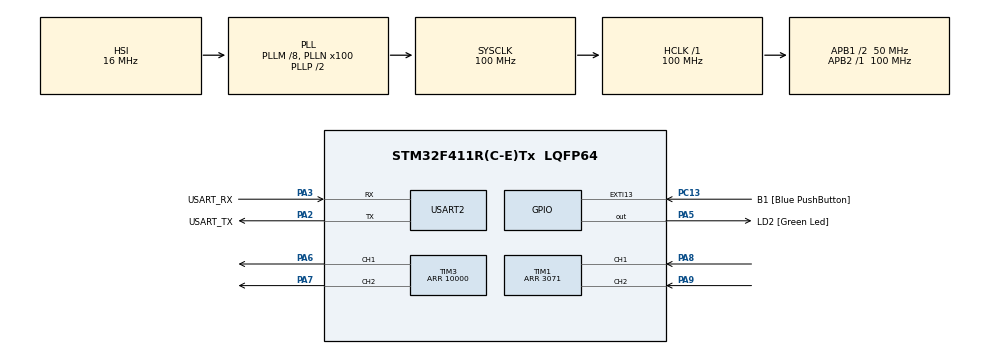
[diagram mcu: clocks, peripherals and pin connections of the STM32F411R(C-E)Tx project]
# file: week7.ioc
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Mcu.Family=STM32F4
Mcu.Name=STM32F411R(C-E)Tx
Mcu.Package=LQFP64
NVIC.PriorityGroup=NVIC_PRIORITYGROUP_0
NVIC.TIM2_IRQn=true\:0\:0\:false\:false\:true\:true\:true
PA13.GPIO_Label=TMS
PA13.Mode=Serial_Wire
PA13.Signal=SYS_JTMS-SWDIO
PA14.GPIO_Label=TCK
PA14.Mode=Serial_Wire
PA14.Signal=SYS_JTCK-SWCLK
PA2.GPIO_Label=USART_TX
PA2.Mode=Asynchronous
PA2.Signal=USART2_TX
PA3.GPIO_Label=USART_RX
PA3.Mode=Asynchronous
PA3.Signal=USART2_RX
PA5.GPIO_Label=LD2 [Green Led]
PA5.Signal=GPIO_Output
PA6.Signal=S_TIM3_CH1
PA7.Signal=S_TIM3_CH2
PA8.Signal=S_TIM1_CH1
PA9.Signal=S_TIM1_CH2
PB3.GPIO_Label=SWO
PB3.Signal=SYS_JTDO-SWO
PC13-ANTI_TAMP.GPIO_Label=B1 [Blue PushButton]
PC13-ANTI_TAMP.GPIO_ModeDefaultEXTI=GPIO_MODE_IT_FALLING
PC13-ANTI_TAMP.Signal=GPXTI13
PC14-OSC32_IN.Mode=LSE-External-Oscillator
PC14-OSC32_IN.Signal=RCC_OSC32_IN
PC15-OSC32_OUT.Mode=LSE-External-Oscillator
PC15-OSC32_OUT.Signal=RCC_OSC32_OUT
PH0\ -\ OSC_IN.Mode=HSE-External-Clock-Source
PH0\ -\ OSC_IN.Signal=RCC_OSC_IN
PH1\ -\ OSC_OUT.Mode=HSE-External-Clock-Source
PH1\ -\ OSC_OUT.Signal=RCC_OSC_OUT
ProjectManager.HeapSize=0x200
ProjectManager.StackSize=0x400
ProjectManager.TargetToolchain=STM32CubeIDE
RCC.48MHZClocksFreq_Value=50000000
RCC.AHBFreq_Value=100000000
RCC.APB1CLKDivider=RCC_HCLK_DIV2
RCC.APB1Freq_Value=50000000
RCC.APB1TimFreq_Value=100000000
RCC.APB2Freq_Value=100000000
RCC.APB2TimFreq_Value=100000000
RCC.CortexFreq_Value=100000000
RCC.FLatency-AdvancedSettings=FLASH_LATENCY_3
RCC.HCLKFreq_Value=100000000
RCC.HSE_VALUE=8000000
RCC.HSI_VALUE=16000000
RCC.PLLM=8
RCC.PLLN=100
RCC.SYSCLKFreq_VALUE=100000000
RCC.SYSCLKSource=RCC_SYSCLKSOURCE_PLLCLK
RCC.VCOOutputFreq_Value=200000000
SH.S_TIM1_CH1.0=TIM1_CH1,Encoder_Interface
SH.S_TIM1_CH2.0=TIM1_CH2,Encoder_Interface
SH.S_TIM3_CH1.0=TIM3_CH1,PWM Generation1 CH1
SH.S_TIM3_CH2.0=TIM3_CH2,PWM Generation2 CH2
TIM1.EncoderMode=TIM_ENCODERMODE_TI12
TIM1.Period=3071
TIM2.Prescaler=99
TIM3.Channel-PWM\ Generation1\ CH1=TIM_CHANNEL_1
TIM3.Channel-PWM\ Generation2\ CH2=TIM_CHANNEL_2
TIM3.Period=10000
USART2.VirtualMode=VM_ASYNC
VP_TIM2_VS_ClockSourceINT.Mode=Internal
VP_TIM3_VS_ClockSourceINT.Mode=Internal
board=NUCLEO-F411RE

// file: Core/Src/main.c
/* USER CODE BEGIN Header */
/**
 ******************************************************************************
 * @file           : main.c
 * @brief          : Main program body
 ******************************************************************************
 * @attention
 *
 * <h2><center>&copy; Copyright (c) 2021 STMicroelectronics.
 * All rights reserved.</center></h2>
 *
 * This software component is licensed by ST under BSD 3-Clause license,
 * the "License"; You may not use this file except in compliance with the
 * License. You may obtain a copy of the License at:
 *                        opensource.org/licenses/BSD-3-Clause
 *
 ******************************************************************************
 */
/* USER CODE END Header */
#include "main.h"

TIM_HandleTypeDef htim1;
TIM_HandleTypeDef htim2;
TIM_HandleTypeDef htim3;

UART_HandleTypeDef huart2;

/* USER CODE BEGIN PV */
uint64_t _micros = 0;
float EncoderVel = 0;
uint64_t Timestamp_Encoder = 0;

float RPM_input = 0;
float RPM_output = 0;
float RPM_set = 0;
float rpm = 0;
float K_P = 0;
float K_I = 0;
float K_D = 0;
float Now_error = 0;
float Sum_error = 0;
float Pre_error = 0;
float PWMOut = 0;
int direction = 0;
/* USER CODE END PV */

void SystemClock_Config(void);
static void MX_GPIO_Init(void);
static void MX_USART2_UART_Init(void);
static void MX_TIM1_Init(void);
static void MX_TIM2_Init(void);
static void MX_TIM3_Init(void);
/* USER CODE BEGIN PFP */
uint64_t micros();
float EncoderVelocity_Update();

/* USER CODE END PFP */

int main(void)
{

  /* MCU Configuration--------------------------------------------------------*/

  /* Reset of all peripherals, Initializes the Flash interface and the Systick. */
  HAL_Init();

  /* Configure the system clock */
  SystemClock_Config();

  /* Initialize all configured peripherals */
  MX_GPIO_Init();
  MX_USART2_UART_Init();
  MX_TIM1_Init();
  MX_TIM2_Init();
  MX_TIM3_Init();
  /* USER CODE BEGIN 2 */
	HAL_TIM_Base_Start_IT(&htim2);
	HAL_TIM_Encoder_Start(&htim1, TIM_CHANNEL_ALL);

	// start TIM
	HAL_TIM_Base_Start(&htim3);
	HAL_TIM_PWM_Start(&htim3, TIM_CHANNEL_1);
	HAL_TIM_PWM_Start(&htim3, TIM_CHANNEL_2);
  /* USER CODE END 2 */

  /* Infinite loop */
	while (1)
	{

    /* USER CODE BEGIN 3 */

		//RAW Read
//		if (micros() - Timestamp_Encoder >= 1000)
//		{
//			Timestamp_Encoder = micros();
//			EncoderVel = EncoderVelocity_Update();
//		}

		//Add LPF?
		if (micros() - Timestamp_Encoder >= 1000)
		{

			Timestamp_Encoder = micros();
			EncoderVel = (EncoderVel * 19 + EncoderVelocity_Update()) / 20.0;
			rpm = (EncoderVel*60.0)/3072.0;

			if(RPM_set == 0)
			{
				__HAL_TIM_SET_COMPARE(&htim3, TIM_CHANNEL_1, 1);
				__HAL_TIM_SET_COMPARE(&htim3, TIM_CHANNEL_2, 1);
			}

			else if(RPM_set > 0)
			{
				direction = 1;
				RPM_input = direction*RPM_set*3072.0/60.0;
				RPM_output =  direction*EncoderVel;
				//K_P = 2; K_I = 0.002; K_D = 8;
				Now_error = RPM_input - RPM_output;
				Sum_error += Now_error;
				PWMOut = (K_P*Now_error) + (K_I*Sum_error) + (K_D*(Now_error - Pre_error));
				Pre_error = Now_error;

				__HAL_TIM_SET_COMPARE(&htim3, TIM_CHANNEL_1, PWMOut);
				__HAL_TIM_SET_COMPARE(&htim3, TIM_CHANNEL_2, 0);

			}

			else if(RPM_set < 0)
			{
				direction = -1;
				RPM_input = direction*RPM_set*3072.0/60.0;
				RPM_output =  direction*EncoderVel;
				//K_P = 2; K_I = 0.002; K_D = 8;
				Now_error = RPM_input - RPM_output;
				Sum_error += Now_error;
				PWMOut = (K_P*Now_error) + (K_I*Sum_error) + (K_D*(Now_error - Pre_error));
				Pre_error = Now_error;

				__HAL_TIM_SET_COMPARE(&htim3, TIM_CHANNEL_1, 0);
				__HAL_TIM_SET_COMPARE(&htim3, TIM_CHANNEL_2, PWMOut);

			}

//			Timestamp_Encoder = micros();
//			EncoderVel = (EncoderVel * 19 + EncoderVelocity_Update()) / 20.0;
//			rpm = (EncoderVel*60.0)/3072.0;
		}

	}
  /* USER CODE END 3 */
}

void SystemClock_Config(void)
{
  RCC_OscInitTypeDef RCC_OscInitStruct = {0};
  RCC_ClkInitTypeDef RCC_ClkInitStruct = {0};

  /** Configure the main internal regulator output voltage
  */
  __HAL_RCC_PWR_CLK_ENABLE();
  __HAL_PWR_VOLTAGESCALING_CONFIG(PWR_REGULATOR_VOLTAGE_SCALE1);
  /** Initializes the RCC Oscillators according to the specified parameters
  * in the RCC_OscInitTypeDef structure.
  */
  RCC_OscInitStruct.OscillatorType = RCC_OSCILLATORTYPE_HSI;
  RCC_OscInitStruct.HSIState = RCC_HSI_ON;
  RCC_OscInitStruct.HSICalibrationValue = RCC_HSICALIBRATION_DEFAULT;
  RCC_OscInitStruct.PLL.PLLState = RCC_PLL_ON;
  RCC_OscInitStruct.PLL.PLLSource = RCC_PLLSOURCE_HSI;
  RCC_OscInitStruct.PLL.PLLM = 8;
  RCC_OscInitStruct.PLL.PLLN = 100;
  RCC_OscInitStruct.PLL.PLLP = RCC_PLLP_DIV2;
  RCC_OscInitStruct.PLL.PLLQ = 4;
  if (HAL_RCC_OscConfig(&RCC_OscInitStruct) != HAL_OK)
  {
    Error_Handler();
  }
  /** Initializes the CPU, AHB and APB buses clocks
  */
  RCC_ClkInitStruct.ClockType = RCC_CLOCKTYPE_HCLK|RCC_CLOCKTYPE_SYSCLK
                              |RCC_CLOCKTYPE_PCLK1|RCC_CLOCKTYPE_PCLK2;
  RCC_ClkInitStruct.SYSCLKSource = RCC_SYSCLKSOURCE_PLLCLK;
  RCC_ClkInitStruct.AHBCLKDivider = RCC_SYSCLK_DIV1;
  RCC_ClkInitStruct.APB1CLKDivider = RCC_HCLK_DIV2;
  RCC_ClkInitStruct.APB2CLKDivider = RCC_HCLK_DIV1;

  if (HAL_RCC_ClockConfig(&RCC_ClkInitStruct, FLASH_LATENCY_3) != HAL_OK)
  {
    Error_Handler();
  }
}

static void MX_TIM1_Init(void)
{

  TIM_Encoder_InitTypeDef sConfig = {0};
  TIM_MasterConfigTypeDef sMasterConfig = {0};

  htim1.Instance = TIM1;
  htim1.Init.Prescaler = 0;
  htim1.Init.CounterMode = TIM_COUNTERMODE_UP;
  htim1.Init.Period = 3071;
  htim1.Init.ClockDivision = TIM_CLOCKDIVISION_DIV1;
  htim1.Init.RepetitionCounter = 0;
  htim1.Init.AutoReloadPreload = TIM_AUTORELOAD_PRELOAD_DISABLE;
  sConfig.EncoderMode = TIM_ENCODERMODE_TI12;
  sConfig.IC1Polarity = TIM_ICPOLARITY_RISING;
  sConfig.IC1Selection = TIM_ICSELECTION_DIRECTTI;
  sConfig.IC1Prescaler = TIM_ICPSC_DIV1;
  sConfig.IC1Filter = 0;
  sConfig.IC2Polarity = TIM_ICPOLARITY_RISING;
  sConfig.IC2Selection = TIM_ICSELECTION_DIRECTTI;
  sConfig.IC2Prescaler = TIM_ICPSC_DIV1;
  sConfig.IC2Filter = 0;
  if (HAL_TIM_Encoder_Init(&htim1, &sConfig) != HAL_OK)
  {
    Error_Handler();
  }
  sMasterConfig.MasterOutputTrigger = TIM_TRGO_RESET;
  sMasterConfig.MasterSlaveMode = TIM_MASTERSLAVEMODE_DISABLE;
  if (HAL_TIMEx_MasterConfigSynchronization(&htim1, &sMasterConfig) != HAL_OK)
  {
    Error_Handler();
  }

}

static void MX_TIM2_Init(void)
{

  TIM_ClockConfigTypeDef sClockSourceConfig = {0};
  TIM_MasterConfigTypeDef sMasterConfig = {0};

  htim2.Instance = TIM2;
  htim2.Init.Prescaler = 99;
  htim2.Init.CounterMode = TIM_COUNTERMODE_UP;
  htim2.Init.Period = 4294967295;
  htim2.Init.ClockDivision = TIM_CLOCKDIVISION_DIV1;
  htim2.Init.AutoReloadPreload = TIM_AUTORELOAD_PRELOAD_DISABLE;
  if (HAL_TIM_Base_Init(&htim2) != HAL_OK)
  {
    Error_Handler();
  }
  sClockSourceConfig.ClockSource = TIM_CLOCKSOURCE_INTERNAL;
  if (HAL_TIM_ConfigClockSource(&htim2, &sClockSourceConfig) != HAL_OK)
  {
    Error_Handler();
  }
  sMasterConfig.MasterOutputTrigger = TIM_TRGO_RESET;
  sMasterConfig.MasterSlaveMode = TIM_MASTERSLAVEMODE_DISABLE;
  if (HAL_TIMEx_MasterConfigSynchronization(&htim2, &sMasterConfig) != HAL_OK)
  {
    Error_Handler();
  }

}

static void MX_TIM3_Init(void)
{

  TIM_ClockConfigTypeDef sClockSourceConfig = {0};
  TIM_MasterConfigTypeDef sMasterConfig = {0};
  TIM_OC_InitTypeDef sConfigOC = {0};

  htim3.Instance = TIM3;
  htim3.Init.Prescaler = 0;
  htim3.Init.CounterMode = TIM_COUNTERMODE_UP;
  htim3.Init.Period = 10000;
  htim3.Init.ClockDivision = TIM_CLOCKDIVISION_DIV1;
  htim3.Init.AutoReloadPreload = TIM_AUTORELOAD_PRELOAD_DISABLE;
  if (HAL_TIM_Base_Init(&htim3) != HAL_OK)
  {
    Error_Handler();
  }
  sClockSourceConfig.ClockSource = TIM_CLOCKSOURCE_INTERNAL;
  if (HAL_TIM_ConfigClockSource(&htim3, &sClockSourceConfig) != HAL_OK)
  {
    Error_Handler();
  }
  if (HAL_TIM_PWM_Init(&htim3) != HAL_OK)
  {
    Error_Handler();
  }
  sMasterConfig.MasterOutputTrigger = TIM_TRGO_RESET;
  sMasterConfig.MasterSlaveMode = TIM_MASTERSLAVEMODE_DISABLE;
  if (HAL_TIMEx_MasterConfigSynchronization(&htim3, &sMasterConfig) != HAL_OK)
  {
    Error_Handler();
  }
  sConfigOC.OCMode = TIM_OCMODE_PWM1;
  sConfigOC.Pulse = 0;
  sConfigOC.OCPolarity = TIM_OCPOLARITY_HIGH;
  sConfigOC.OCFastMode = TIM_OCFAST_DISABLE;
  if (HAL_TIM_PWM_ConfigChannel(&htim3, &sConfigOC, TIM_CHANNEL_1) != HAL_OK)
  {
    Error_Handler();
  }
  if (HAL_TIM_PWM_ConfigChannel(&htim3, &sConfigOC, TIM_CHANNEL_2) != HAL_OK)
  {
    Error_Handler();
  }
  HAL_TIM_MspPostInit(&htim3);

}

static void MX_USART2_UART_Init(void)
{

  huart2.Instance = USART2;
  huart2.Init.BaudRate = 115200;
  huart2.Init.WordLength = UART_WORDLENGTH_8B;
  huart2.Init.StopBits = UART_STOPBITS_1;
  huart2.Init.Parity = UART_PARITY_NONE;
  huart2.Init.Mode = UART_MODE_TX_RX;
  huart2.Init.HwFlowCtl = UART_HWCONTROL_NONE;
  huart2.Init.OverSampling = UART_OVERSAMPLING_16;
  if (HAL_UART_Init(&huart2) != HAL_OK)
  {
    Error_Handler();
  }

}

static void MX_GPIO_Init(void)
{
  GPIO_InitTypeDef GPIO_InitStruct = {0};

  /* GPIO Ports Clock Enable */
  __HAL_RCC_GPIOC_CLK_ENABLE();
  __HAL_RCC_GPIOH_CLK_ENABLE();
  __HAL_RCC_GPIOA_CLK_ENABLE();
  __HAL_RCC_GPIOB_CLK_ENABLE();

  /*Configure GPIO pin Output Level */
  HAL_GPIO_WritePin(LD2_GPIO_Port, LD2_Pin, GPIO_PIN_RESET);

  /*Configure GPIO pin : B1_Pin */
  GPIO_InitStruct.Pin = B1_Pin;
  GPIO_InitStruct.Mode = GPIO_MODE_IT_FALLING;
  GPIO_InitStruct.Pull = GPIO_NOPULL;
  HAL_GPIO_Init(B1_GPIO_Port, &GPIO_InitStruct);

  /*Configure GPIO pin : LD2_Pin */
  GPIO_InitStruct.Pin = LD2_Pin;
  GPIO_InitStruct.Mode = GPIO_MODE_OUTPUT_PP;
  GPIO_InitStruct.Pull = GPIO_NOPULL;
  GPIO_InitStruct.Speed = GPIO_SPEED_FREQ_LOW;
  HAL_GPIO_Init(LD2_GPIO_Port, &GPIO_InitStruct);

}

/* USER CODE BEGIN 4 */
#define  HTIM_ENCODER htim1
#define  MAX_SUBPOSITION_OVERFLOW 1536
#define  MAX_ENCODER_PERIOD 3072

float EncoderVelocity_Update() //Angular velocity
{
	//Save Last state
	static uint32_t EncoderLastPosition = 0;
	static uint64_t EncoderLastTimestamp = 0;

	//read data
	uint32_t EncoderNowPosition = HTIM_ENCODER.Instance->CNT;
	uint64_t EncoderNowTimestamp = micros();

	int32_t EncoderPositionDiff;
	uint64_t EncoderTimeDiff;

	EncoderTimeDiff = EncoderNowTimestamp - EncoderLastTimestamp;//dt
	EncoderPositionDiff = EncoderNowPosition - EncoderLastPosition;//dp

	//compensate overflow and underflow
	if (EncoderPositionDiff >= MAX_SUBPOSITION_OVERFLOW)
	{
		EncoderPositionDiff -= MAX_ENCODER_PERIOD;
	}
	else if (-EncoderPositionDiff >= MAX_SUBPOSITION_OVERFLOW)
	{
		EncoderPositionDiff += MAX_ENCODER_PERIOD;
	}

	//Update Position and time
	EncoderLastPosition = EncoderNowPosition;
	EncoderLastTimestamp = EncoderNowTimestamp;

	//Calculate velocity
	//EncoderTimeDiff is in uS
	return (EncoderPositionDiff * 1000000) / (float) EncoderTimeDiff;

}

void HAL_TIM_PeriodElapsedCallback(TIM_HandleTypeDef *htim)
{
	if (htim == &htim2)
	{
		_micros += 4294967295;
	}
}
uint64_t micros()
{
	return _micros + htim2.Instance->CNT;
}
/* USER CODE END 4 */

void Error_Handler(void)
{
	__disable_irq();
	while (1)
	{
	}
}

/************************ (C) COPYRIGHT STMicroelectronics *****END OF FILE****/
